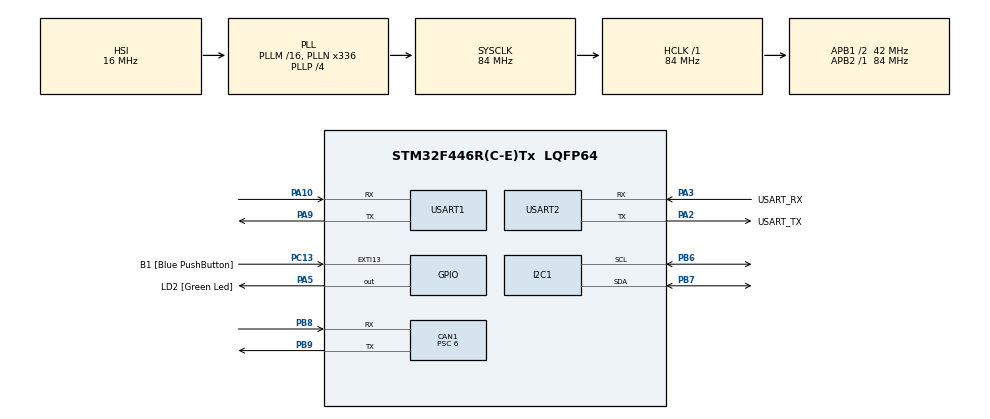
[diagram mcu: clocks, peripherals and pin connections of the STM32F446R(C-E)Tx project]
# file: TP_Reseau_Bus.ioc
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CAN1.BS1=CAN_BS1_11TQ
CAN1.BS2=CAN_BS2_2TQ
CAN1.CalculateBaudRate=500000
CAN1.CalculateTimeBit=2000
CAN1.CalculateTimeQuantum=142.85714285714286
CAN1.Prescaler=6
FREERTOS.Tasks01=defaultTask,0,128,StartDefaultTask,Default,NULL,Dynamic,NULL,NULL
Mcu.Family=STM32F4
Mcu.Name=STM32F446R(C-E)Tx
Mcu.Package=LQFP64
NVIC.PriorityGroup=NVIC_PRIORITYGROUP_4
PA10.Mode=Asynchronous
PA10.Signal=USART1_RX
PA13.GPIO_Label=TMS
PA13.Mode=Serial_Wire
PA13.Signal=SYS_JTMS-SWDIO
PA14.GPIO_Label=TCK
PA14.Mode=Serial_Wire
PA14.Signal=SYS_JTCK-SWCLK
PA2.GPIO_Label=USART_TX
PA2.Mode=Asynchronous
PA2.Signal=USART2_TX
PA3.GPIO_Label=USART_RX
PA3.Mode=Asynchronous
PA3.Signal=USART2_RX
PA5.GPIO_Label=LD2 [Green Led]
PA5.Signal=GPIO_Output
PA9.Mode=Asynchronous
PA9.Signal=USART1_TX
PB3.GPIO_Label=SWO
PB3.Signal=SYS_JTDO-SWO
PB6.Mode=I2C
PB6.Signal=I2C1_SCL
PB7.Mode=I2C
PB7.Signal=I2C1_SDA
PB8.Mode=CAN_Activate
PB8.Signal=CAN1_RX
PB9.Mode=CAN_Activate
PB9.Signal=CAN1_TX
PC13.GPIO_Label=B1 [Blue PushButton]
PC13.GPIO_ModeDefaultEXTI=GPIO_MODE_IT_FALLING
PC13.Signal=GPXTI13
PC14-OSC32_IN.Mode=LSE-External-Oscillator
PC14-OSC32_IN.Signal=RCC_OSC32_IN
PC15-OSC32_OUT.Mode=LSE-External-Oscillator
PC15-OSC32_OUT.Signal=RCC_OSC32_OUT
PH0-OSC_IN.Mode=HSE-External-Oscillator
PH0-OSC_IN.Signal=RCC_OSC_IN
PH1-OSC_OUT.Mode=HSE-External-Oscillator
PH1-OSC_OUT.Signal=RCC_OSC_OUT
ProjectManager.HeapSize=0x200
ProjectManager.StackSize=0x400
ProjectManager.TargetToolchain=STM32CubeIDE
RCC.48MHZClocksFreq_Value=84000000
RCC.AHBFreq_Value=84000000
RCC.APB1CLKDivider=RCC_HCLK_DIV2
RCC.APB1Freq_Value=42000000
RCC.APB1TimFreq_Value=84000000
RCC.APB2Freq_Value=84000000
RCC.APB2TimFreq_Value=84000000
RCC.CortexFreq_Value=84000000
RCC.FLatency-AdvancedSettings=FLASH_LATENCY_2
RCC.HCLKFreq_Value=84000000
RCC.HSE_VALUE=8000000
RCC.HSI_VALUE=16000000
RCC.PLLN=336
RCC.PLLP=RCC_PLLP_DIV4
RCC.SYSCLKFreq_VALUE=84000000
RCC.SYSCLKSource=RCC_SYSCLKSOURCE_PLLCLK
RCC.USBFreq_Value=168000000
RCC.VCOOutputFreq_Value=336000000
USART1.VirtualMode=VM_ASYNC
USART2.VirtualMode=VM_ASYNC
VP_FREERTOS_VS_CMSIS_V1.Mode=CMSIS_V1
board=NUCLEO-F446RE

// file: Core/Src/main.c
/* USER CODE BEGIN Header */
/**
 ******************************************************************************
 * @file           : main.c
 * @brief          : Main program body
 ******************************************************************************
 * @attention
 *
 * Copyright (c) 2025 STMicroelectronics.
 * All rights reserved.
 *
 * This software is licensed under terms that can be found in the LICENSE file
 * in the root directory of this software component.
 * If no LICENSE file comes with this software, it is provided AS-IS.
 *
 ******************************************************************************
 */
/* USER CODE END Header */
#include "main.h"
#include "cmsis_os.h"
#include "can.h"
#include "i2c.h"
#include "usart.h"
#include "gpio.h"

/* USER CODE BEGIN Includes */
#include <stdio.h>
#include <stdlib.h>
#include "shell.h"
#include "BMP280_simple.h"
/* USER CODE END Includes */

/* USER CODE BEGIN PD */
#define SLAVE_ADDRESS (uint16_t)(0x77 << 1)
#define ID 0xD0
#define SIZE_OF_1 1
#define SIZE_OF_2 2
#define CTRL_MEAS 0xF4
/* USER CODE END PD */

/* USER CODE BEGIN PV */
float K = 1.0f;
static float old_t = -999.0f;
float delta = 0.0f;
float new_t = 0.0f;

CAN_TxHeaderTypeDef TxHeader=
{
		.StdId = 0x60,                  // Identifiant standard (11 bits)
		.ExtId = 0x00,                  // Ignoré car IDE = CAN_ID_STD
		.IDE = CAN_ID_STD,             // Trame standard
		.RTR = CAN_RTR_DATA,            // Trame de type DATA
		.DLC = 3,	                      // Nombre d’octets
		.TransmitGlobalTime = DISABLE  // Toujours DISABLE si non utilisé
};
/* USER CODE END PV */

void SystemClock_Config(void);
void MX_FREERTOS_Init(void);

/* USER CODE BEGIN 0 */
int __io_putchar(int ch)
{
	HAL_UART_Transmit(&huart2, (uint8_t*)&ch, 1, HAL_MAX_DELAY);
	HAL_UART_Transmit(&huart1, (uint8_t*)&ch, 1, HAL_MAX_DELAY);
	return ch;
}

int addition(int argc, char ** argv,h_shell_t *h_shell){
	int sum=0;
	for(int i=1;i<argc;i++){
		sum+=atoi(argv[i]);
	}
	printf("\r\nsum=%d\r\n",sum);
	return sum;
}
uint8_t drv_uart_receive(char * pData, uint16_t size){
	HAL_UART_Receive(&huart1,(uint8_t*)pData,size,HAL_MAX_DELAY);
	return 0;
}
uint8_t drv_uart_transmit(char * pData, uint16_t size){
	HAL_UART_Transmit(&huart1,(uint8_t*)pData,size,HAL_MAX_DELAY);
	return 0;
}
h_shell_t h_shell={
		.huart=&huart1,
		.drv_shell={
				.drv_shell_receive =drv_uart_receive,
				.drv_shell_transmit= drv_uart_transmit
		}

};

int GET_T(int argc, char ** argv, h_shell_t *h_shell){

    BMP280_S32_t temperature_raw;
    float new_t;
    float delta;
    int32_t steps_int; // On utilise un entier signé standard pour le calcul

    // 1. Acquisition
    temperature_raw = BMP280_get_temperature();
    new_t = temperature_raw / 20000.0f; // Garde ton facteur de conversion si c'est celui de ta lib

    printf("%.2f\n", new_t);

    // 2. Gestion du premier démarrage (pas de delta possible)
    if (old_t == -999.0f) {
        printf("First run, initializing old_t.\r\n");
        old_t = new_t;
        return 0;
    }

    // 3. Calcul du Delta
    delta = new_t - old_t;
    printf("old_t = %.2f | delta = %.2f\r\n", old_t, delta);

    // 4. Conversion en pas (entier signé)
    steps_int = (int32_t)(delta * 100.0f);
    printf("steps raw = %ld\r\n", (long)steps_int);

    // 5. Détermination du sens et valeur absolue
    uint8_t sens;
    uint8_t steps_to_send;

    if (steps_int >= 0) {
        sens = 1;
        steps_to_send = (uint8_t)steps_int;
    } else {
        sens = 0;
        // IMPORTANT : On rend le nombre positif pour l'envoi sur 8 bits
        // Exemple : si steps_int est -50, on veut envoyer 50
        steps_to_send = (uint8_t)(-steps_int);
    }

    // 6. Sécurité seuil max (sur la valeur absolue)
    if (steps_to_send > 180) {
        printf("Error: Too big difference (%d steps)\r\n", steps_to_send);
        // Important : on met à jour old_t même en cas d'erreur pour éviter de bloquer ?
        // Ici je choisis de mettre à jour pour repartir sur une base saine.
        old_t = new_t;
        return 1;
    }

    // Si la différence est trop petite (bruit), on ne fait rien
    if (steps_to_send == 0) {
        printf("Delta too small, no move.\r\n");
        old_t = new_t;
        return 0;
    }

    // 7. Préparation CAN
    uint8_t TxData[3];
    TxData[0] = sens;           // 1 ou 0
    TxData[1] = steps_to_send;  // Valeur toujours positive (0 à 180)
    TxData[2] = 0x04;           // Commande

    uint32_t TxMailbox;
    HAL_StatusTypeDef ret = HAL_CAN_AddTxMessage(&hcan1, &TxHeader, TxData, &TxMailbox);

    if (ret != HAL_OK) {
        printf("HAL_CAN_AddTxMessage FAILED: %d\r\n", (int)ret);
        return 1;
    }

    printf("Message sent: Sens=%d, Steps=%d\r\n", sens, steps_to_send);

    // Attente (Optionnel, attention ça bloque le CPU)
    /* ... ton code de polling ... */

    // 8. MISE À JOUR CRITIQUE
    // C'est ici qu'on stocke la nouvelle température comme référence pour la prochaine fois
    old_t = new_t;

    return 0;
}

/*
int GET_T(int argc, char ** argv,h_shell_t *h_shell){
	printf("old_t = %.2f\r\n", old_t);
	BMP280_S32_t temperature;
	temperature =BMP280_get_temperature();
	new_t = temperature/20000.0f;
	printf("new_t = %.2f\r\n", new_t);
	delta = new_t - old_t;
	printf("delta = %.2f\r\n", delta);
	BMP280_S32_t steps = 100*delta;
	printf("steps = %d\r\n", steps);
	int sens;
	if (steps > 0) {
		sens = 1;
	}
	else {
		sens = 0;
	}

	if (steps > 180) {
		printf("Too big difference");
		return 1;
	}

	uint8_t TxData[3];
	TxData[0] = (uint8_t)sens;             // Adresse ou commande fixe
	TxData[1] = (uint8_t)steps;   // L’angle demandé
	TxData[2] = 0x04;         // Commande moteur

	uint32_t TxMailbox;

	// Envoi
	HAL_StatusTypeDef ret =
		HAL_CAN_AddTxMessage(&hcan1, &TxHeader, TxData, &TxMailbox);

	if (ret != HAL_OK) {
		printf("HAL_CAN_AddTxMessage FAILED: %d\r\n", (int)ret);
		return 1;
	}

	printf("Message queued in mailbox %lu\r\n", (unsigned long)TxMailbox);

	// Attendre la fin (polling)
	uint32_t timeout = HAL_GetTick() + 100;

	while ((__HAL_CAN_GET_FLAG(&hcan1, CAN_FLAG_RQCP0) == RESET) &&
		   (__HAL_CAN_GET_FLAG(&hcan1, CAN_FLAG_RQCP1) == RESET) &&
		   (__HAL_CAN_GET_FLAG(&hcan1, CAN_FLAG_RQCP2) == RESET))
	{
		if (HAL_GetTick() > timeout) {
			printf("TX timeout waiting mailbox complete\r\n");
			break;
		}
	}

	printf("TX send attempt complete\r\n");

	old_t = new_t;
	return 0;

}
*/

int GET_P(int argc, char ** argv,h_shell_t *h_shell){
	BMP280_S32_t pression;
	pression =BMP280_get_pressure();

	return 0;
}

int SET_K(int argc, char ** argv, h_shell_t *h_shell){
	if(argc < 2){
		printf("Usage : SET_K <valeur>\r\n");
		return 1;
	}

	K = atof(argv[1]);  // conversion ASCII → float
	printf("Coefficient K mis à jour : %.3f\r\n", K);
	return 0;
}
int GET_K(int argc, char ** argv, h_shell_t *h_shell){
	printf("Coefficient K : %.3f\r\n", K);
	return 0;
}

int GET_A(int argc, char ** argv, h_shell_t *h_shell){

	return 0;
}

int ANGLE(int argc, char **argv, h_shell_t *h_shell)
{
	if (argc < 3) {
		printf("Usage : A <angle_decimal>\r\n");
		return 1;
	}

	int angle = atoi(argv[1]);
	int sens = atoi(argv[2]);

	if (angle < 0 || angle > 180) {
		printf("Angle must be between 0 and 180\r\n");
		return 1;
	}

    uint8_t TxData[3];
    TxData[0] = (uint8_t)sens;             // Adresse ou commande fixe
    TxData[1] = (uint8_t)angle;   // L’angle demandé
    TxData[2] = 0x04;             // Commande moteur

	uint32_t TxMailbox;

	/* Envoi */
	HAL_StatusTypeDef ret =
			HAL_CAN_AddTxMessage(&hcan1, &TxHeader, TxData, &TxMailbox);

	if (ret != HAL_OK) {
		printf("HAL_CAN_AddTxMessage FAILED: %d\r\n", (int)ret);
		return 1;
	}

	printf("Message queued in mailbox %lu\r\n", (unsigned long)TxMailbox);

	/* Attendre la fin (polling) */
	uint32_t timeout = HAL_GetTick() + 100;

	while ((__HAL_CAN_GET_FLAG(&hcan1, CAN_FLAG_RQCP0) == RESET) &&
			(__HAL_CAN_GET_FLAG(&hcan1, CAN_FLAG_RQCP1) == RESET) &&
			(__HAL_CAN_GET_FLAG(&hcan1, CAN_FLAG_RQCP2) == RESET))
	{
		if (HAL_GetTick() > timeout) {
			printf("TX timeout waiting mailbox complete\r\n");
			break;
		}
	}

	printf("TX send attempt complete\r\n");
	return 0;
}

void taskShell(void *unused){
	shell_init(&h_shell);
	shell_add('a', addition, "Ma super addition", &h_shell);
	shell_add('t', GET_T, "Température compensée", &h_shell);
	shell_add('p', GET_P, "Pression compensée", &h_shell);
	shell_add('k', SET_K, "Fixe le coefficient K", &h_shell);
	shell_add('K', GET_K, "Affiche K", &h_shell);
	shell_add('A', GET_A, "Affiche l'angle", &h_shell);
	shell_add('m', ANGLE, "set motor angle", &h_shell);
	shell_run(&h_shell);//shell_run contient une boucle infinie donc on ne retournera jamais de cette fonction
}

void HAL_UART_RxCpltCallback(UART_HandleTypeDef *huart)
{

	if (huart->Instance==USART1){
		shell_uart_rx_callback(&h_shell);
	}
}

/* USER CODE END 0 */

int main(void)
{

	/* MCU Configuration--------------------------------------------------------*/

	/* Reset of all peripherals, Initializes the Flash interface and the Systick. */
	HAL_Init();

	/* Configure the system clock */
	SystemClock_Config();

  /* Initialize all configured peripherals */
  MX_GPIO_Init();
  MX_USART2_UART_Init();
  MX_USART1_UART_Init();
  MX_CAN1_Init();
  MX_I2C1_Init();
  /* USER CODE BEGIN 2 */
  printf("============== TP_Réseaux/Bus ==============\r\n         Terlinden & Bonnet--Galand\r\n");
  BMP280_init();
  int32_t raw_t;
  int32_t raw_p;
  BMP280_S32_t t_compensate;
  BMP280_S32_t p_compensate;

  BMP280_Read_Raw(&hi2c1, &raw_t, &raw_p);
  new_t = raw_t/20000.0f;
  //t_compensate = bmp280_compensate_T_int32((BMP280_S32_t) raw_t);
  //p_compensate = bmp280_compensate_P_int64((BMP280_S32_t) raw_p);
  printf("RAW : T=%ld P=%ld | FINAL : T=%.2f C, P=%.2f hPa\r\n", raw_t, raw_p, new_t, p_compensate/25600.0f);

	/* Démarrer le CAN */
	if (HAL_CAN_Start(&hcan1) != HAL_OK) {
		printf("HAL_CAN_Start FAILED\r\n");
		Error_Handler();
	} else {
		printf("CAN started OK\r\n");
	}

	//  /* Optionnel : activer notifications pour debug (Tx mailbox empty + bus off + error) */
	//  if (HAL_CAN_ActivateNotification(&hcan1,
	//          CAN_IT_TX_MAILBOX_EMPTY | CAN_IT_BUSOFF | CAN_IT_ERROR) != HAL_OK) {
	//      printf("HAL_CAN_ActivateNotification FAILED\r\n");
	//  }
	//
	//  /* Préparer et envoyer le message */
	//  uint8_t TxData[3] = {0x00, 0x64, 0x04};
	//  uint32_t TxMailbox;
	//
	//  /* envoyer et loguer le code de retour */
	//  HAL_StatusTypeDef ret = HAL_CAN_AddTxMessage(&hcan1, &TxHeader, TxData, &TxMailbox);
	//  if (ret != HAL_OK) {
	//      printf("HAL_CAN_AddTxMessage FAILED: %d\r\n", (int)ret);
	//      Error_Handler();
	//  } else {
	//      printf("Message queued in mailbox %lu\r\n", (unsigned long)TxMailbox);
	//  }
	//
	//  /* Attend (poll) la sortie du mailbox (optionnel simple) */
	//  uint32_t timeout = HAL_GetTick() + 100; // 100 ms timeout
	//  while ((__HAL_CAN_GET_FLAG(&hcan1, CAN_FLAG_RQCP0) == RESET) &&
	//         (__HAL_CAN_GET_FLAG(&hcan1, CAN_FLAG_RQCP1) == RESET) &&
	//         (__HAL_CAN_GET_FLAG(&hcan1, CAN_FLAG_RQCP2) == RESET)) {
	//      if (HAL_GetTick() > timeout) {
	//          printf("TX timeout waiting mailbox complete\r\n");
	//          break;
	//      }
	//  }
	//  printf("TX send attempt complete (check bus)\r\n");

	/*
  HAL_StatusTypeDef status;
  uint8_t reg_address = ID; // 0xD0
  uint8_t i2c_rx_buffer = 0;
  status = HAL_I2C_Master_Transmit(&hi2c1, SLAVE_ADDRESS, &reg_address, SIZE, HAL_MAX_DELAY);

  if (status == HAL_OK)
  {
      status = HAL_I2C_Master_Receive(&hi2c1, SLAVE_ADDRESS, &i2c_rx_buffer, SIZE, HAL_MAX_DELAY);

      if (status == HAL_OK)
      {
          // Reading succeed.
          printf("ID read (0x%02X) : 0x%02X\r\n", ID, i2c_rx_buffer);
      }
      else
      {
          // Reading failed.
          printf("CKC - Reading failed after pointing the register.\r\n");
      }
  }
  else
  {
      printf("CKC - Transmission of the address register failed.\r\n");
  }
	 */

	/*
  	HAL_StatusTypeDef status;

  	uint8_t buffer[2];
  	buffer[0] = CTRL_MEAS;
  	buffer[1] = 0b01010111;

	uint8_t i2c_rx_buffer = 0;
	status = HAL_I2C_Master_Transmit(&hi2c1, SLAVE_ADDRESS, buffer, SIZE_OF_2, HAL_MAX_DELAY);

	if (status == HAL_OK)
	{
		status = HAL_I2C_Master_Receive(&hi2c1, SLAVE_ADDRESS, &i2c_rx_buffer, SIZE_OF_2, HAL_MAX_DELAY);

		if (status == HAL_OK)
		{
			// Reading succeed.
			printf("ID read (0x%02X) : 0x%02X\r\n", CTRL_MEAS, i2c_rx_buffer);
		}
		else
		{
			// Reading failed.
			printf("CKC - Reading failed after pointing the register.\r\n");
		}
	}
	else
	{
		printf("CKC - Transmission of the address register failed.\r\n");
	}

	 */

	if (xTaskCreate(
			taskShell,             // fonction
			"SHELL",                // nom
			512,                  // stack (en mots, pas en octets)
			NULL,                 // paramètre
			1, // priorité
			NULL                  // handle (optionnel)
	)!=pdPASS){
		printf("Error creating task shell\r\n");
		Error_Handler();
	}

	vTaskStartScheduler();

	/* USER CODE END 2 */

	/* Call init function for freertos objects (in cmsis_os2.c) */
	MX_FREERTOS_Init();

	/* Start scheduler */
	osKernelStart();

	/* We should never get here as control is now taken by the scheduler */

	/* Infinite loop */
	while (1)
	{

	}
}

void SystemClock_Config(void)
{
	RCC_OscInitTypeDef RCC_OscInitStruct = {0};
	RCC_ClkInitTypeDef RCC_ClkInitStruct = {0};

	/** Configure the main internal regulator output voltage
	 */
	__HAL_RCC_PWR_CLK_ENABLE();
	__HAL_PWR_VOLTAGESCALING_CONFIG(PWR_REGULATOR_VOLTAGE_SCALE3);

	/** Initializes the RCC Oscillators according to the specified parameters
	 * in the RCC_OscInitTypeDef structure.
	 */
	RCC_OscInitStruct.OscillatorType = RCC_OSCILLATORTYPE_HSI;
	RCC_OscInitStruct.HSIState = RCC_HSI_ON;
	RCC_OscInitStruct.HSICalibrationValue = RCC_HSICALIBRATION_DEFAULT;
	RCC_OscInitStruct.PLL.PLLState = RCC_PLL_ON;
	RCC_OscInitStruct.PLL.PLLSource = RCC_PLLSOURCE_HSI;
	RCC_OscInitStruct.PLL.PLLM = 16;
	RCC_OscInitStruct.PLL.PLLN = 336;
	RCC_OscInitStruct.PLL.PLLP = RCC_PLLP_DIV4;
	RCC_OscInitStruct.PLL.PLLQ = 2;
	RCC_OscInitStruct.PLL.PLLR = 2;
	if (HAL_RCC_OscConfig(&RCC_OscInitStruct) != HAL_OK)
	{
		Error_Handler();
	}

	/** Initializes the CPU, AHB and APB buses clocks
	 */
	RCC_ClkInitStruct.ClockType = RCC_CLOCKTYPE_HCLK|RCC_CLOCKTYPE_SYSCLK
			|RCC_CLOCKTYPE_PCLK1|RCC_CLOCKTYPE_PCLK2;
	RCC_ClkInitStruct.SYSCLKSource = RCC_SYSCLKSOURCE_PLLCLK;
	RCC_ClkInitStruct.AHBCLKDivider = RCC_SYSCLK_DIV1;
	RCC_ClkInitStruct.APB1CLKDivider = RCC_HCLK_DIV2;
	RCC_ClkInitStruct.APB2CLKDivider = RCC_HCLK_DIV1;

	if (HAL_RCC_ClockConfig(&RCC_ClkInitStruct, FLASH_LATENCY_2) != HAL_OK)
	{
		Error_Handler();
	}
}

void Error_Handler(void)
{
	__disable_irq();
	while (1)
	{
	}
}
